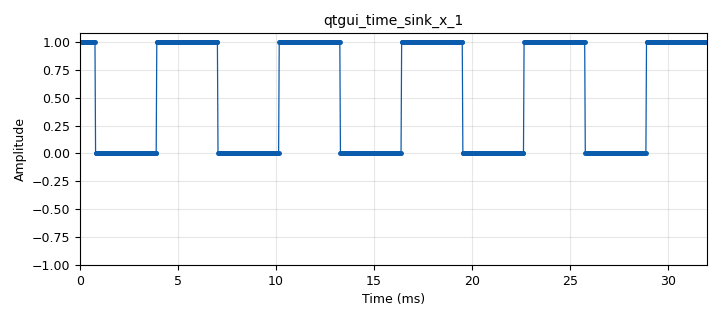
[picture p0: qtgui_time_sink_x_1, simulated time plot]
options:
  parameters:
    generate_options: qt_gui
    id: Neural_Net_Decoder
    output_language: python
    title: Not titled yet
  states: {}

blocks:
- name: noise_amplitude
  id: variable_qtgui_range
  parameters:
    label: Noise Level
    start: '0'
    step: '.01'
    stop: '10'
    value: '0'
  states: {}
- name: samp_rate
  id: variable
  parameters:
    value: '32000'
  states: {}
- name: sps
  id: variable
  parameters:
    value: '100'
  states: {}
- name: analog_noise_source_x_0
  id: analog_noise_source_x
  parameters:
    amp: noise_amplitude
    noise_type: analog.GR_GAUSSIAN
    seed: '0'
    type: float
  states: {}
- name: analog_sig_source_x_0
  id: analog_sig_source_x
  parameters:
    amp: '1'
    freq: samp_rate/sps/2
    offset: '0'
    phase: '0'
    samp_rate: samp_rate
    type: float
    waveform: analog.GR_SQR_WAVE
  states: {}
- name: blocks_add_xx_0
  id: blocks_add_xx
  parameters:
    type: float
  states: {}
- name: blocks_int_to_float_0
  id: blocks_int_to_float
  parameters:
    scale: '1'
  states: {}
- name: blocks_throttle2_0
  id: blocks_throttle2
  parameters:
    samples_per_second: samp_rate
    type: float
  states: {}
- name: epy_block_0
  id: epy_block
  parameters:
    _source_code: |
      import numpy as np
      from gnuradio import gr
      from tensorflow.keras.models import load_model

      class KerasOOKDecoder(gr.sync_block):
          def __init__(self, offset=0):
              gr.sync_block.__init__(self,
                                     name="Keras OOK Decoder",
                                     in_sig=[np.float32],
                                     out_sig=[np.int32])
              self.model = load_model('/home/david/Nextcloud/Arbeit_ANT/Versuch_Arduino/Neural_Net/data/tes_new.keras')
              self.symbol_length = 100
              self.offset = offset  # Offset-Parameter hinzugefügt

          def work(self, input_items, output_items):
              in0 = input_items[0]
              out = output_items[0]
              
              # Prüfen, ob genug Daten vorhanden sind, um die Verarbeitung zu starten
              if len(in0) < self.symbol_length + self.offset:
                  return 0  # Nicht genug Daten, um Offset und ein vollständiges Symbol zu behandeln

              # Beginnend vom Offset die Daten für das Modell vorbereiten
              start_index = self.offset
              end_index = start_index + (len(in0) - self.offset) // self.symbol_length * self.symbol_length
              reshaped_samples = np.reshape(in0[start_index:end_index], (-1, self.symbol_length))

              # Das Modell auf alle Samples gleichzeitig anwenden
              predictions = self.model.predict(reshaped_samples).round().astype(np.int32).flatten()

              # Die Vorhersagen in die Ausgabe kopieren
              out[:len(predictions)] = predictions
              
              return len(predictions)
    offset: '0'
  states: {}
- name: epy_block_1
  id: epy_block
  parameters:
    _source_code: |
      import numpy as np
      from gnuradio import gr

      class OOK_Synchronizer(gr.sync_block):
          def __init__(self, threshold=0.5, symbol_length=100):
              gr.sync_block.__init__(self,
                                     name="OOK Synchronizer",
                                     in_sig=[np.float32],
                                     out_sig=[np.float32])
              self.threshold = threshold
              self.symbol_length = symbol_length
              self.synced = False
              self.index = 0

          def work(self, input_items, output_items):
              in0 = input_items[0]
              out = output_items[0]
              noutput_items = len(in0)

              for i in range(noutput_items):
                  if not self.synced:
                      if in0[i] > self.threshold:
                          self.synced = True
                          self.index = 0
                  if self.synced:
                      if self.index < self.symbol_length:
                          out[self.index] = in0[i]
                          self.index += 1
                      if self.index == self.symbol_length:
                          self.synced = False
                          self.index = 0

              return self.index
    symbol_length: sps
    threshold: '0.8'
  states: {state: bypassed}
- name: qtgui_time_sink_x_0
  id: qtgui_time_sink_x
  parameters:
    entags: 'False'
    marker1: '0'
    size: int(1024/sps)
    srate: samp_rate
    stemplot: 'True'
    tr_level: '0.1'
    tr_mode: qtgui.TRIG_MODE_AUTO
    type: float
    update_time: '0.01'
  states: {}
- name: qtgui_time_sink_x_1
  id: qtgui_time_sink_x
  parameters:
    marker1: '0'
    size: '1024'
    srate: samp_rate
    type: float
    update_time: '0.01'
  states: {}

connections:
- [analog_noise_source_x_0, '0', blocks_add_xx_0, '1']
- [analog_sig_source_x_0, '0', blocks_throttle2_0, '0']
- [blocks_add_xx_0, '0', epy_block_1, '0']
- [blocks_add_xx_0, '0', qtgui_time_sink_x_1, '0']
- [blocks_int_to_float_0, '0', qtgui_time_sink_x_0, '0']
- [blocks_throttle2_0, '0', blocks_add_xx_0, '0']
- [epy_block_0, '0', blocks_int_to_float_0, '0']
- [epy_block_1, '0', epy_block_0, '0']

metadata:
  file_format: 1
  grc_version: 3.10.6.0
